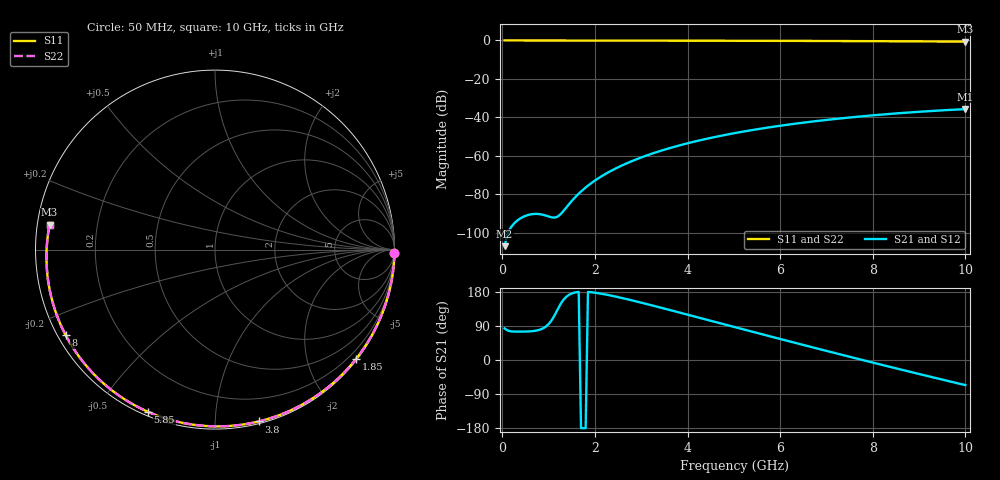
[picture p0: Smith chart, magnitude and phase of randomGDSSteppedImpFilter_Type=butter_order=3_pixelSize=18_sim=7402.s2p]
! freq	dB(S11)	phase(S11)	dB(S12)	phase(S12)
!  dB(S21)	phase(S21)	dB(S22)	phase(S22)
!S-par simulation data
#  GHz  S  DB  R 50
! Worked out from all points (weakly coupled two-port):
!   200 points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, 50 MHz to 10 GHz, reference 50 ohm
!   highest |S21| = -35.73 dB at 10 GHz (marker M1); lowest = -107.1 dB at 50 MHz (marker M2)
!   lowest |S11| = -0.6 dB at 10 GHz (marker M3), VSWR 28.32, Z = 1.78 + j3.75 ohm
!   |S11| at or under -10 dB: nowhere
!   |S22| runs from -0.6 to 0.0 dB; largest |S21 - S12| = 0
!   S11 on the Smith chart (normalised r, x): 50 MHz: open; 1.85 GHz: 0.03, -2.91; 3.8 GHz: 0.02, -1.29; 5.85 GHz: 0.02, -0.67; 8 GHz: 0.02, -0.27; 10 GHz: 0.04, +0.08
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0.05  -0.00 -1.0  -107.06 83.4  -107.06 83.4  -0.00 -1.0
0.4  -0.01 -8.3  -92.46 74.9  -92.46 74.9  -0.01 -8.4
0.8  -0.02 -16.6  -90.38 79.6  -90.38 79.6  -0.02 -16.6
1.6  -0.04 -32.9  -80.92 178.8  -80.92 178.8  -0.04 -32.9
1.65  -0.04 -33.9  -79.73 179.7  -79.73 179.7  -0.04 -33.9
1.75  -0.05 -35.9  -77.53 -179.8  -77.53 -179.8  -0.05 -35.9
1.85  -0.05 -37.9  -75.55 179.6  -75.55 179.6  -0.05 -37.9
2.15  -0.06 -43.9  -70.58 174.7  -70.58 174.7  -0.06 -43.9
2.5  -0.07 -50.8  -66.01 166.0  -66.01 166.0  -0.07 -50.8
2.9  -0.08 -58.6  -61.82 154.4  -61.82 154.4  -0.08 -58.6
3.4  -0.09 -68.1  -57.59 138.9  -57.59 138.9  -0.09 -68.1
3.8  -0.10 -75.6  -54.77 126.1  -54.77 126.1  -0.10 -75.6
4.4  -0.12 -86.6  -51.23 106.8  -51.23 106.8  -0.12 -86.6
5.05  -0.15 -98.3  -48.08 85.8  -48.08 85.8  -0.15 -98.3
5.85  -0.19 -112.5  -44.91 60.2  -44.91 60.2  -0.19 -112.5
6.7  -0.25 -127.3  -42.19 33.4  -42.19 33.4  -0.25 -127.3
7.35  -0.30 -138.7  -40.45 13.1  -40.45 13.1  -0.30 -138.6
8  -0.37 -150.2  -38.97 -6.8  -38.97 -6.8  -0.37 -150.2
8.35  -0.40 -156.6  -38.27 -17.5  -38.27 -17.5  -0.40 -156.5
9.2  -0.50 -172.5  -36.81 -42.9  -36.81 -42.9  -0.50 -172.4
9.6  -0.56 179.6  -36.23 -54.7  -36.23 -54.7  -0.56 179.8
10  -0.61 171.4  -35.73 -66.3  -35.73 -66.3  -0.61 171.6
